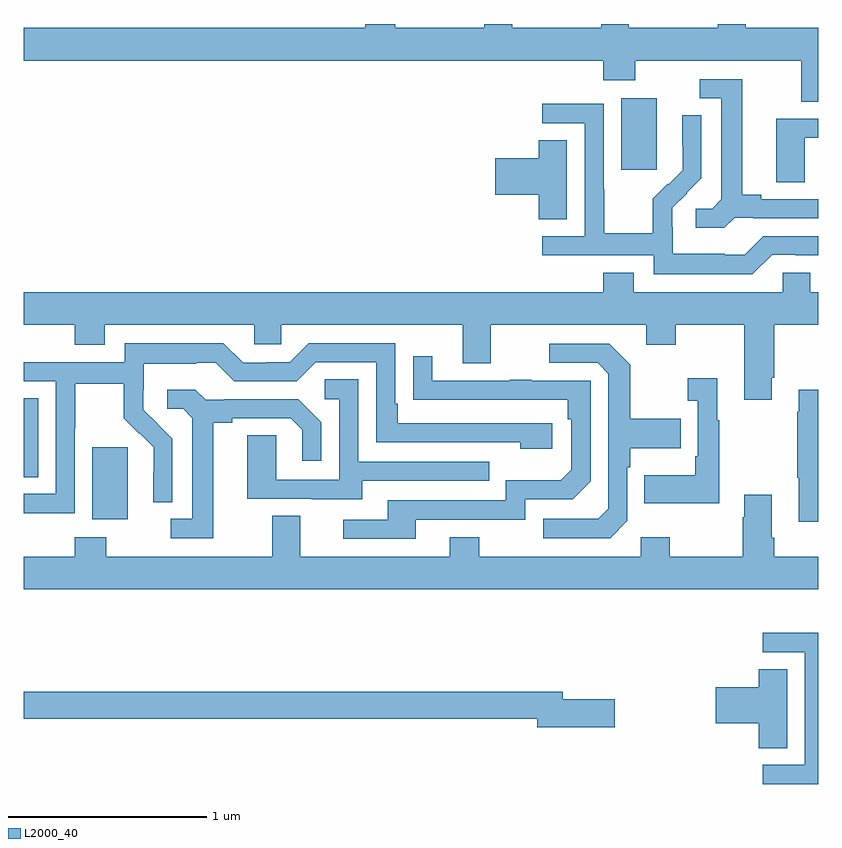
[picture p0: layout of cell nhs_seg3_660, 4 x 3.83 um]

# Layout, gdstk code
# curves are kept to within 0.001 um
import gdstk
lib = gdstk.Library(unit=1e-6, precision=1e-09)
def R(c, l, rs):  # rectangles x0, y0, x1, y1
    for r in rs: c.add(gdstk.rectangle(r[:2], r[2:], *l))
def P(c, l, *ps):  # polygons
    for p in ps: c.add(gdstk.Polygon(p, *l))
L2000_40 = (2000, 40)

nhs_seg3_660 = lib.new_cell('nhs_seg3_660')
R(nhs_seg3_660, L2000_40, [(143.345,731.906,143.524,732.267), (143,732.118,143.071,732.515), (146.009,733.665,146.188,734.026)])
P(nhs_seg3_660, L2000_40, [(147,734.38),(146.635,734.38),(146.635,734.4),(146.495,734.4),(146.495,734.38),(146.047,734.38),(146.047,734.4),(145.907,734.4),(145.907,734.38),(145.459,734.38),(145.459,734.4),(145.319,734.4),(145.319,734.38),(144.871,734.38),(144.871,734.4),(144.719,734.4),(144.719,734.38),(143,734.38),(143,734.216),(145.919,734.216),(145.919,734.117),(146.079,734.117),(146.079,734.216),(146.915,734.216),(146.915,734.008),(147,734.008)],
  [(146.58,733.425),(146.674,733.425),(146.674,733.422),(147,733.422),(147,733.518),(146.713,733.518),(146.713,733.541),(146.617,733.541),(146.617,734.121),(146.403,734.121),(146.403,734.025),(146.513,734.025),(146.513,733.517),(146.466,733.47),(146.385,733.47),(146.385,733.373),(146.528,733.373)],
  [(146.769,733.239),(146.885,733.239),(146.885,733.236),(147,733.236),(147,733.332),(146.724,733.332),(146.631,733.239),(146.531,733.239),(146.531,733.243),(146.268,733.243),(146.268,733.377),(146.266,733.377),(146.266,733.474),(146.412,733.622),(146.412,733.94),(146.316,733.94),(146.316,733.786),(146.318,733.786),(146.318,733.664),(146.247,733.593),(146.244,733.596),(146.167,733.519),(146.167,733.345),(145.923,733.345),(145.923,733.568),(145.92,733.568),(145.92,733.998),(145.611,733.998),(145.611,733.899),(145.824,733.899),(145.824,733.332),(145.611,733.332),(145.611,733.236),(146.172,733.236),(146.172,733.139),(146.669,733.139)],
  [(146.934,733.827),(147,733.827),(147,733.923),(146.789,733.923),(146.789,733.603),(146.934,733.603)],
  [(145.735,733.814),(145.592,733.814),(145.592,733.724),(145.374,733.724),(145.374,733.541),(145.592,733.541),(145.592,733.417),(145.735,733.417)],
  [(143,732.884),(143.255,732.884),(143.255,732.785),(143.407,732.785),(143.407,732.884),(144.159,732.884),(144.159,732.786),(144.297,732.786),(144.297,732.884),(145.211,732.884),(145.211,732.69),(145.351,732.69),(145.351,732.884),(146.135,732.884),(146.135,732.785),(146.283,732.785),(146.283,732.884),(146.627,732.884),(146.627,732.507),(146.767,732.507),(146.767,732.619),(146.78,732.619),(146.78,732.884),(147,732.884),(147,733.048),(146.961,733.048),(146.961,733.146),(146.823,733.146),(146.823,733.048),(146.071,733.048),(146.071,733.147),(145.919,733.147),(145.919,733.048),(143,733.048)],
  [(143.256,732.364),(143.259,732.364),(143.259,732.588),(143.503,732.588),(143.503,732.413),(143.58,732.336),(143.583,732.339),(143.654,732.269),(143.654,732.146),(143.652,732.146),(143.652,731.992),(143.748,731.992),(143.748,732.31),(143.602,732.458),(143.602,732.555),(143.604,732.555),(143.604,732.689),(143.867,732.689),(143.867,732.693),(143.967,732.693),(144.06,732.6),(144.375,732.6),(144.471,732.696),(144.774,732.696),(144.774,732.294),(145.499,732.294),(145.499,732.26),(145.66,732.26),(145.66,732.39),(144.883,732.39),(144.883,732.487),(144.87,732.487),(144.87,732.792),(144.435,732.792),(144.339,732.696),(144.221,732.696),(144.221,732.693),(144.105,732.693),(144.005,732.793),(143.508,732.793),(143.508,732.696),(143,732.696),(143,732.6),(143.16,732.6),(143.16,732.033),(143,732.033),(143,731.935),(143.256,731.935)],
  [(146.04,731.898),(146.04,732.167),(146.053,732.167),(146.053,732.263),(146.309,732.263),(146.309,732.411),(146.053,732.411),(146.053,732.683),(145.947,732.789),(145.647,732.789),(145.647,732.693),(145.89,732.693),(145.944,732.639),(145.944,731.958),(145.893,731.907),(145.617,731.907),(145.617,731.811),(145.953,731.811)],
  [(144.973,731.904),(145.524,731.904),(145.524,732.006),(145.764,732.006),(145.854,732.096),(145.854,732.603),(145.559,732.603),(145.559,732.608),(145.447,732.608),(145.447,732.603),(145.057,732.603),(145.057,732.727),(144.961,732.727),(144.961,732.508),(145.738,732.507),(145.738,732.41),(145.758,732.41),(145.758,732.156),(145.705,732.103),(145.428,732.103),(145.428,732),(144.833,732),(144.833,731.904),(144.609,731.904),(144.609,731.808),(144.973,731.808)],
  [(146.503,732.403),(146.491,732.403),(146.491,732.616),(146.343,732.616),(146.343,732.503),(146.394,732.503),(146.394,732.223),(146.382,732.223),(146.382,732.127),(146.125,732.127),(146.125,731.987),(146.503,731.987)],
  [(144.703,732.099),(145.343,732.099),(145.343,732.195),(144.684,732.195),(144.684,732.611),(144.516,732.611),(144.516,732.51),(144.588,732.51),(144.588,732.105),(144.27,732.105),(144.27,732.329),(144.125,732.329),(144.125,732.009),(144.449,732.009),(144.449,732.005),(144.703,732.005)],
  [(147,732.559),(146.903,732.559),(146.903,732.446),(146.896,732.446),(146.896,732.115),(146.903,732.115),(146.903,731.892),(147,731.892)],
  [(143.953,732.392),(144.049,732.392),(144.049,732.414),(144.344,732.414),(144.401,732.357),(144.401,732.201),(144.498,732.201),(144.498,732.394),(144.382,732.51),(144.01,732.51),(144.01,732.507),(143.916,732.507),(143.864,732.559),(143.721,732.559),(143.721,732.462),(143.802,732.462),(143.849,732.415),(143.849,731.907),(143.739,731.907),(143.739,731.811),(143.953,731.811)],
  [(145.145,731.815),(145.145,731.716),(144.391,731.716),(144.391,731.924),(144.251,731.924),(144.251,731.716),(143.415,731.716),(143.415,731.815),(143.255,731.815),(143.255,731.716),(143,731.716),(143,731.552),(147,731.552),(147,731.716),(146.78,731.716),(146.78,731.812),(146.767,731.812),(146.767,732.028),(146.627,732.028),(146.627,731.915),(146.62,731.915),(146.62,731.716),(146.253,731.716),(146.253,731.815),(146.106,731.815),(146.106,731.716),(145.293,731.716),(145.293,731.815)],
  [(147,731.334),(146.721,731.334),(146.721,731.235),(146.934,731.235),(146.934,730.668),(146.721,730.668),(146.721,730.572),(147,730.572)],
  [(146.845,731.15),(146.702,731.15),(146.702,731.06),(146.484,731.06),(146.484,730.877),(146.702,730.877),(146.702,730.753),(146.845,730.753)],
  [(145.975,731),(145.714,731),(145.714,731.036),(143,731.036),(143,730.9),(145.586,730.9),(145.586,730.858),(145.975,730.858)])

lib.write_gds('nhs_seg3_660.gds')
